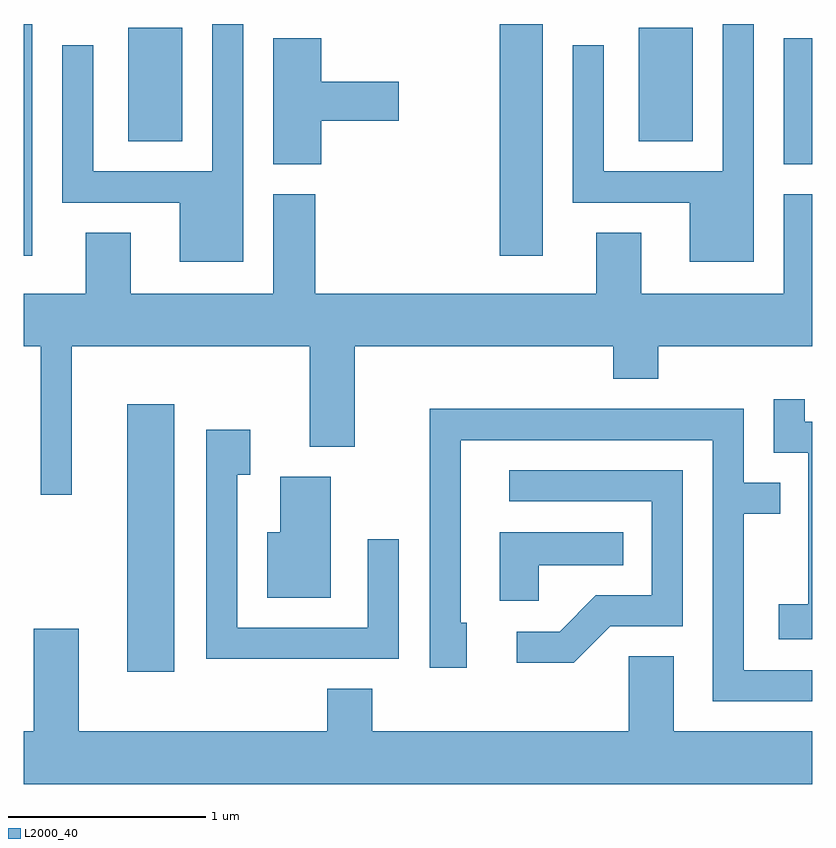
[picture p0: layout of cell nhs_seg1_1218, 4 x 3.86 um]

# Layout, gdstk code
import gdstk
lib = gdstk.Library(unit=1e-6, precision=1e-09)
def R(c, l, rs):  # rectangles x0, y0, x1, y1
    for r in rs: c.add(gdstk.rectangle(r[:2], r[2:], *l))
def P(c, l, *ps):  # polygons
    for p in ps: c.add(gdstk.Polygon(p, *l))
L2000_40 = (2000, 40)

nhs_seg1_1218 = lib.new_cell('nhs_seg1_1218')
R(nhs_seg1_1218, L2000_40, [(224.136,842.426,224.374,843.784), (223.611,844.536,223.654,845.712), (226.026,844.536,226.244,845.712), (227.466,845.001,227.611,845.639), (224.141,845.116,224.414,845.694), (226.731,845.116,227.004,845.694)])
P(nhs_seg1_1218, L2000_40, [(227.314,845.712),(227.156,845.712),(227.156,844.964),(226.554,844.964),(226.554,845.603),(226.396,845.603),(226.396,844.806),(226.991,844.806),(226.991,844.506),(227.314,844.506)],
  [(224.724,845.712),(224.566,845.712),(224.566,844.964),(223.964,844.964),(223.964,845.603),(223.806,845.603),(223.806,844.806),(224.401,844.806),(224.401,844.506),(224.724,844.506)],
  [(225.119,845.221),(225.514,845.221),(225.514,845.419),(225.119,845.419),(225.119,845.639),(224.876,845.639),(224.876,845.001),(225.119,845.001)],
  [(223.854,844.076),(225.061,844.076),(225.061,843.566),(225.289,843.566),(225.289,844.076),(226.601,844.076),(226.601,843.911),(226.829,843.911),(226.829,844.076),(227.611,844.076),(227.611,844.849),(227.466,844.849),(227.466,844.344),(226.744,844.344),(226.744,844.654),(226.516,844.654),(226.516,844.344),(225.089,844.344),(225.089,844.849),(224.876,844.849),(224.876,844.344),(224.154,844.344),(224.154,844.654),(223.926,844.654),(223.926,844.344),(223.611,844.344),(223.611,844.076),(223.696,844.076),(223.696,843.323),(223.854,843.323)],
  [(227.611,843.694),(227.574,843.694),(227.574,843.808),(227.416,843.808),(227.416,843.536),(227.591,843.536),(227.591,842.769),(227.441,842.769),(227.441,842.591),(227.611,842.591)],
  [(227.611,842.434),(227.264,842.434),(227.264,843.226),(227.448,843.226),(227.448,843.384),(227.264,843.384),(227.264,843.759),(225.671,843.759),(225.671,842.446),(225.859,842.446),(225.859,842.674),(225.829,842.674),(225.829,843.601),(227.106,843.601),(227.106,842.276),(227.611,842.276)],
  [(225.514,843.098),(225.356,843.098),(225.356,842.649),(224.694,842.649),(224.694,843.426),(224.759,843.426),(224.759,843.654),(224.536,843.654),(224.536,842.491),(225.514,842.491)],
  [(226.587,842.656),(226.954,842.656),(226.954,843.449),(226.073,843.449),(226.073,843.291),(226.796,843.291),(226.796,842.814),(226.514,842.814),(226.329,842.629),(226.113,842.629),(226.113,842.471),(226.402,842.471)],
  [(225.169,843.414),(224.911,843.414),(224.911,843.134),(224.846,843.134),(224.846,842.801),(225.169,842.801)],
  [(226.224,842.966),(226.653,842.966),(226.653,843.134),(226.026,843.134),(226.026,842.786),(226.224,842.786)],
  [(227.611,842.124),(226.909,842.124),(226.909,842.504),(226.681,842.504),(226.681,842.124),(225.379,842.124),(225.379,842.339),(225.151,842.339),(225.151,842.124),(223.889,842.124),(223.889,842.644),(223.661,842.644),(223.661,842.124),(223.611,842.124),(223.611,841.856),(227.611,841.856)])

lib.write_gds('nhs_seg1_1218.gds')
